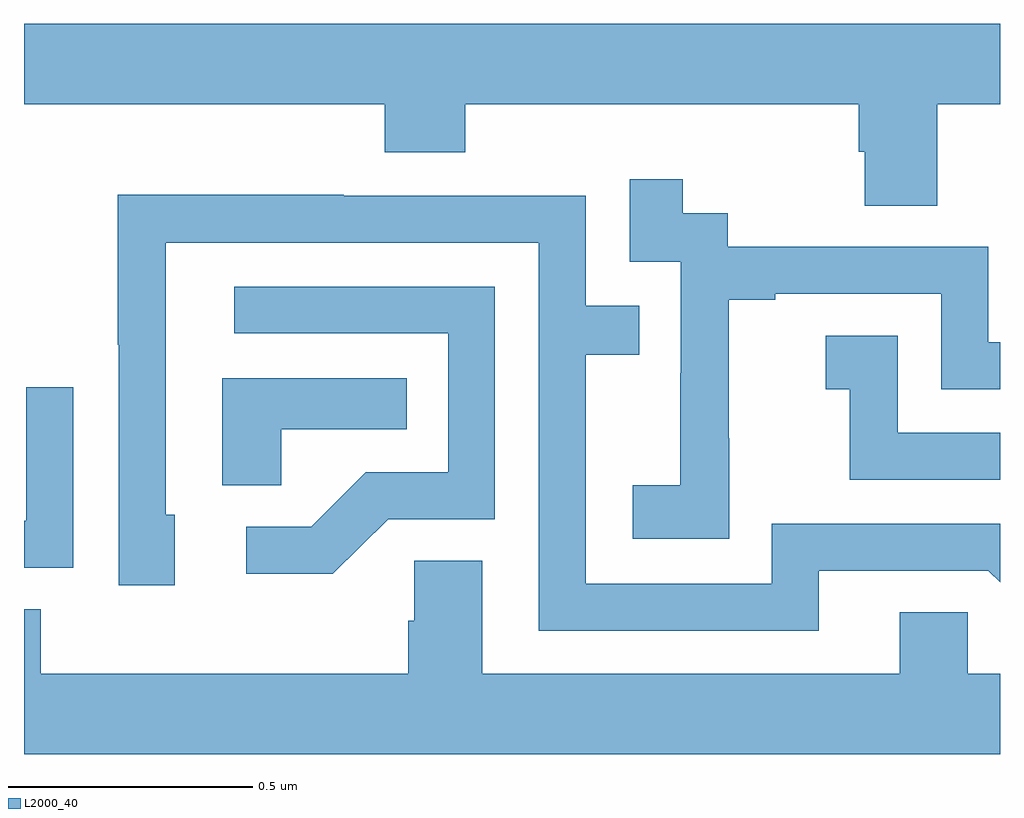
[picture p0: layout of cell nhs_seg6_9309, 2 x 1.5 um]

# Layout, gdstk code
import gdstk
lib = gdstk.Library(unit=1e-6, precision=1e-09)
def P(c, l, *ps):  # polygons
    for p in ps: c.add(gdstk.Polygon(p, *l))
L2000_40 = (2000, 40)

nhs_seg6_9309 = lib.new_cell('nhs_seg6_9309')
P(nhs_seg6_9309, L2000_40, [(232,959.324),(232.739,959.324),(232.739,959.225),(232.904,959.225),(232.904,959.324),(233.711,959.324),(233.711,959.226),(233.723,959.226),(233.723,959.116),(233.871,959.116),(233.871,959.324),(234,959.324),(234,959.488),(232,959.488)],
  [(233.445,958.639),(233.444,958.639),(233.444,958.923),(233.539,958.923),(233.539,958.935),(233.88,958.935),(233.88,958.74),(234,958.74),(234,958.836),(233.976,958.836),(233.976,959.031),(233.442,959.031),(233.442,959.1),(233.35,959.1),(233.35,959.17),(233.241,959.17),(233.241,959.001),(233.346,959.001),(233.346,958.772),(233.345,958.772),(233.345,958.543),(233.247,958.543),(233.247,958.433),(233.445,958.433)],
  [(233.629,958.368),(233.976,958.368),(234,958.344),(234,958.464),(233.532,958.464),(233.532,958.341),(233.151,958.341),(233.151,958.81),(233.261,958.81),(233.261,958.911),(233.151,958.911),(233.151,959.136),(232.655,959.136),(232.655,959.138),(232.192,959.138),(232.192,958.831),(232.194,958.831),(232.194,958.338),(232.309,958.338),(232.309,958.482),(232.29,958.482),(232.29,959.04),(233.055,959.04),(233.055,958.245),(233.629,958.245)],
  [(232.746,958.473),(232.965,958.473),(232.965,958.95),(232.431,958.95),(232.431,958.854),(232.869,958.854),(232.869,958.569),(232.7,958.569),(232.589,958.458),(232.455,958.458),(232.455,958.361),(232.633,958.361)],
  [(234,958.65),(233.79,958.65),(233.79,958.849),(233.643,958.849),(233.643,958.739),(233.692,958.739),(233.692,958.554),(234,958.554)],
  [(232.527,958.658),(232.784,958.658),(232.784,958.762),(232.406,958.762),(232.406,958.543),(232.527,958.543)],
  [(232.101,958.744),(232.005,958.744),(232.005,958.47),(232,958.47),(232,958.374),(232.101,958.374)],
  [(234,958.156),(233.934,958.156),(233.934,958.283),(233.795,958.283),(233.795,958.156),(232.939,958.156),(232.939,958.388),(232.8,958.388),(232.8,958.265),(232.787,958.265),(232.787,958.156),(232.034,958.156),(232.034,958.289),(232,958.289),(232,957.992),(234,957.992)])

lib.write_gds('nhs_seg6_9309.gds')
